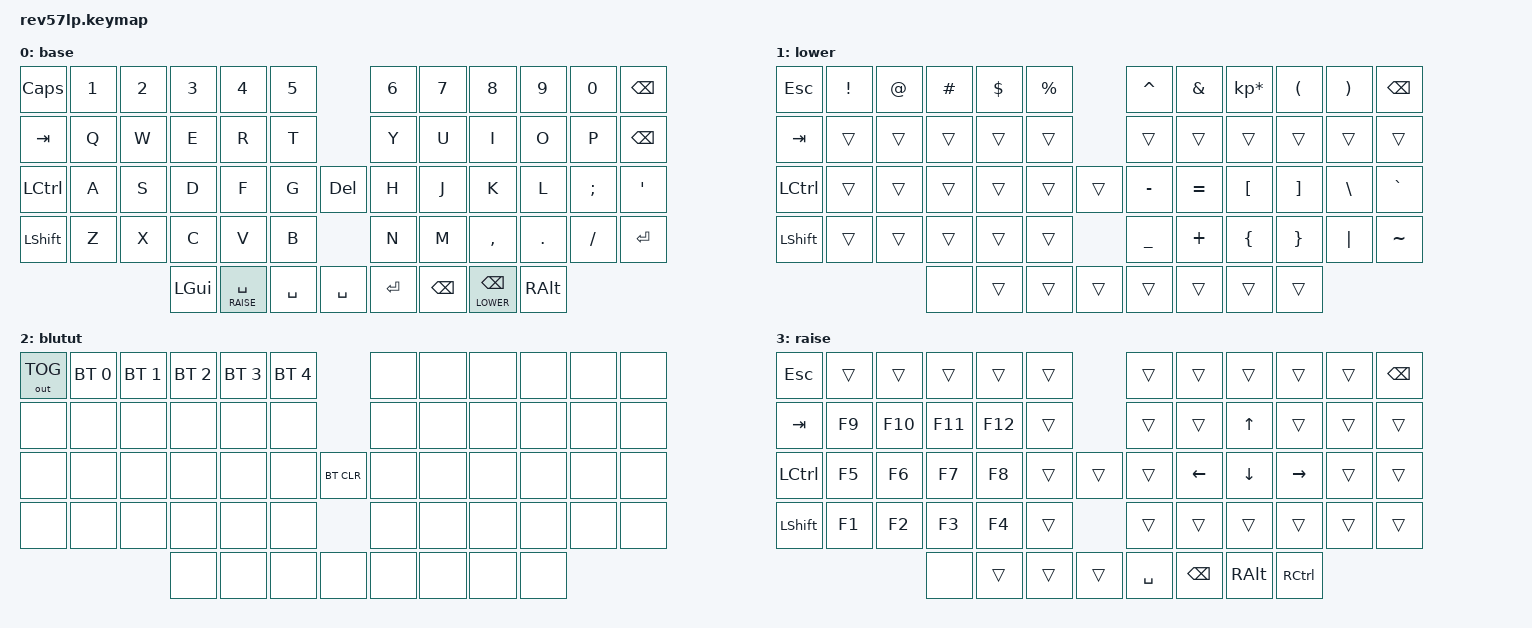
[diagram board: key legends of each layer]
/*
 * Copyright (c) 2022 The ZMK Contributors
 *
 * SPDX-License-Identifier: MIT
 */

#include <behaviors.dtsi>
#include <dt-bindings/zmk/keys.h>
#include <dt-bindings/zmk/bt.h>
#include <dt-bindings/zmk/outputs.h>

#define BASE    0
#define LOWER   1
#define BT      2
#define RAISE   3

/ {
    combos {
        compatible = "zmk,combos";
        
        combo_BOOT {
            timeout-ms = <50>;
            key-positions = <4 5 6 7>;
            bindings = <&bootloader>;
        };

        combo_BT {
            timeout-ms = <50>;
            key-positions = <49 56>;
            bindings = <&mo BT>;
        };
    };

    keymap {
        compatible = "zmk,keymap";

        base {
            bindings = <
                &kp CAPS     &kp N1     &kp N2    &kp N3    &kp N4     &kp N5                           &kp N6     &kp N7     &kp N8     &kp N9    &kp N0     &kp BSPC
                &kp TAB      &kp Q      &kp W     &kp E     &kp R      &kp T                            &kp Y      &kp U      &kp I      &kp O     &kp P      &kp BSPC
                &kp LCTL     &kp A      &kp S     &kp D     &kp F      &kp G          &kp DEL           &kp H      &kp J      &kp K      &kp L     &kp SEMI   &kp SQT
                &kp LSHIFT   &kp Z      &kp X     &kp C     &kp V      &kp B                            &kp N      &kp M      &kp COMMA  &kp DOT   &kp SLASH  &kp RET
                                                  &kp LGUI  &lt RAISE SPACE  &kp SPACE  &kp SPACE  &kp RET    &kp BSPC   &lt LOWER BSPC  &kp RALT
                >;
        };

        lower {
            bindings = <
                &kp ESC    &kp EXCL  &kp AT   &kp HASH  &kp DLLR  &kp PRCNT                             &kp CARET  &kp AMPS   &kp KP_MULTIPLY  &kp LPAR   &kp RPAR        &kp BSPC
                &kp TAB    &trans    &trans   &trans    &trans    &trans                                &trans     &trans     &trans           &trans     &trans          &trans
                &kp LCTL   &trans    &trans   &trans    &trans    &trans          &trans                &kp MINUS  &kp EQUAL  &kp LBKT         &kp RBKT   &kp BSLH        &kp GRAVE
                &kp LSHIFT &trans    &trans   &trans    &trans    &trans                                &kp UNDER  &kp PLUS   &kp LBRC         &kp RBRC   &kp PIPE        &kp TILDE
                                              &none     &trans    &trans    &trans  &trans  &trans     &trans &trans
                >;  
        };

        blutut {
            bindings = <
                &out OUT_TOG  &bt BT_SEL 0  &bt BT_SEL 1  &bt BT_SEL 2  &bt BT_SEL 3  &bt BT_SEL 4           &none  &none  &none  &none  &none  &none
                &none         &none         &none         &none         &none         &none                  &none  &none  &none  &none  &none  &none
                &none         &none         &none         &none         &none         &none     &bt BT_CLR   &none  &none  &none  &none  &none  &none
                &none         &none         &none         &none         &none         &none                  &none  &none  &none  &none  &none  &none
                                                                        &none  &none  &none   &none  &none   &none  &none  &none
                >;
        };

        raise {
            bindings = <
                &kp ESC    &trans    &trans   &trans    &trans    &trans                                &trans     &trans     &trans           &trans     &trans          &kp BSPC
                &kp TAB    &kp F9    &kp F10  &kp F11   &kp F12   &trans                                &trans     &trans     &kp UP           &trans     &trans          &trans
                &kp LCTL   &kp F5    &kp F6   &kp F7    &kp F8    &trans          &trans                &trans     &kp LEFT   &kp DOWN         &kp RIGHT  &trans          &trans
                &kp LSHIFT &kp F1    &kp F2   &kp F3    &kp F4    &trans                                &trans     &trans     &trans           &trans     &trans          &trans
                                              &none     &trans    &trans    &trans  &kp SPACE  &kp BSPC    &kp RALT   &kp RCTRL
                >;
        };
    };
};
